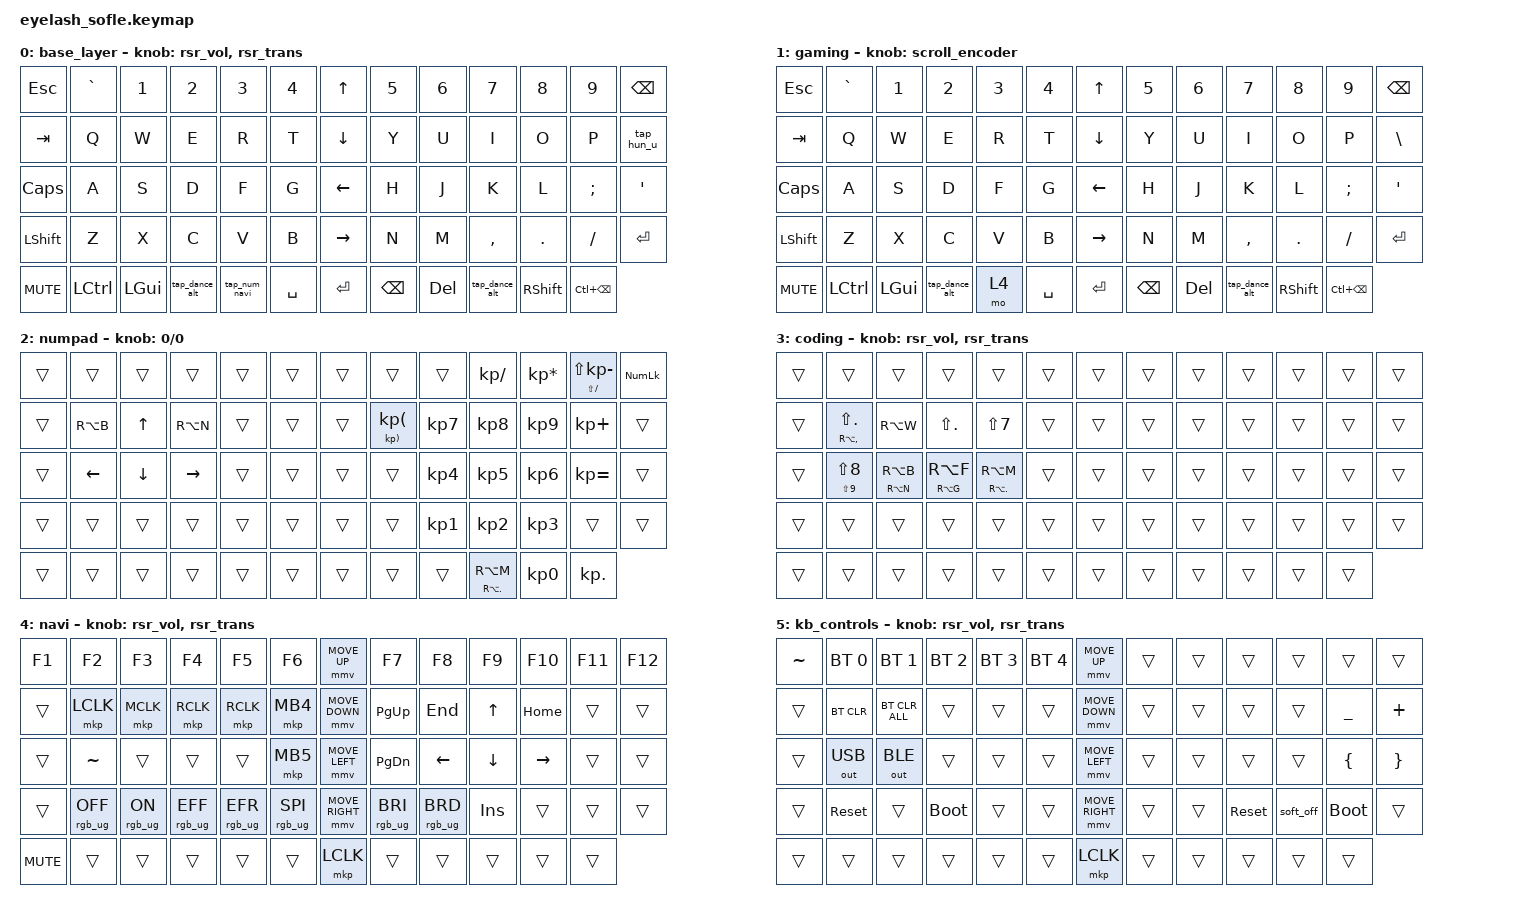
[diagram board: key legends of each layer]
#define ZMK_POINTING_DEFAULT_MOVE_VAL 1200  // 600
#define ZMK_POINTING_DEFAULT_SCRL_VAL 25   // 10

#include <input/processors.dtsi>
#include <zephyr/dt-bindings/input/input-event-codes.h>
#include <behaviors.dtsi>
#include <behaviors/runtime-sensor-rotate.dtsi>
#include <dt-bindings/zmk/bt.h>
#include <dt-bindings/zmk/keys.h>
#include <dt-bindings/zmk/outputs.h>
#include <dt-bindings/zmk/pointing.h>
#include <dt-bindings/zmk/rgb.h>

/ {
    zip_scroll_scaler: zip_scroll_scaler {
        compatible = "zmk,input-processor-scaler";
        #input-processor-cells = <2>;
        type = <INPUT_EV_REL>;
        codes = <INPUT_REL_WHEEL INPUT_REL_HWHEEL>;
        track-remainders;
    };
};

&mmv_input_listener { input-processors = <&zip_xy_scaler 2 1>; };

&msc_input_listener { input-processors = <&zip_scroll_scaler 2 1>; };

&msc {
    acceleration-exponent = <1>;      // 0
    time-to-max-speed-ms = <100>;       // 300
    delay-ms = <0>;                   // 0
};

&mmv {
    time-to-max-speed-ms = <500>;
    acceleration-exponent = <1>;
    trigger-period-ms = <16>;
};

&soft_off { hold-time-ms = <2000>; };

/ {
    scroll_encoder: scroll_encoder {
        compatible = "zmk,behavior-sensor-rotate";
        #sensor-binding-cells = <0>;
        bindings = <&msc SCRL_DOWN>, <&msc SCRL_UP>;

        tap-ms = <100>;
    };

    behaviors {
        rsr_vol: rsr_vol {
            compatible = "zmk,behavior-runtime-sensor-rotate";
            #sensor-binding-cells = <0>;
            tap-ms = <5>;
            cw-binding = <&kp C_VOL_UP>;
            ccw-binding = <&kp C_VOL_DN>;
        };

        rsr_trans: rsr_trans {
            compatible = "zmk,behavior-runtime-sensor-rotate";
            #sensor-binding-cells = <0>;
            tap-ms = <0>;
        };
    };

    macros {
        SHIFT_MCLK: SHIFT_MCLK {
            compatible = "zmk,behavior-macro";
            #binding-cells = <0>;
            bindings =
                <&macro_press>,
                <&kp LEFT_SHIFT>,
                <&macro_press>,
                <&mkp MB3>,
                <&macro_pause_for_release>,
                <&macro_release>,
                <&kp LEFT_SHIFT &mkp MB3>;

            label = "SHIFT_MCLK";
        };
    };

    tap_dance_e: tap_dance_e {
        compatible = "zmk,behavior-tap-dance";
        label = "TAP_DANCE_E";
        #binding-cells = <0>;
        bindings = <&kp E>, <&kp SEMI>;

        tapping-term-ms = <200>;
    };

    tap_dance_i: tap_dance_i {
        compatible = "zmk,behavior-tap-dance";
        label = "TAP_DANCE_I";
        #binding-cells = <0>;
        bindings = <&kp I>, <&kp NUBS>;

        tapping-term-ms = <200>;
    };

    tap_dance_u: tap_dance_u {
        compatible = "zmk,behavior-tap-dance";
        label = "TAP_DANCE_U";
        #binding-cells = <0>;
        bindings = <&kp U>, <&kp RIGHT_BRACKET>;

        tapping-term-ms = <200>;
    };

    tap_dance_o: tap_dance_o {
        compatible = "zmk,behavior-tap-dance";
        label = "TAP_DANCE_O";
        #binding-cells = <0>;
        bindings = <&kp O>, <&kp EQUAL>;

        tapping-term-ms = <200>;
    };

    tap_dance_alt: tap_dance_alt {
        compatible = "zmk,behavior-tap-dance";
        label = "TAP_DANCE_ALT";
        #binding-cells = <0>;
        bindings = <&kp LALT>, <&kp RALT>;

        tapping-term-ms = <200>;
    };

    holdtap_2: holdtap_2 {
        compatible = "zmk,behavior-hold-tap";
        label = "HOLDTAP_2";
        bindings = <&kp>, <&kp>;

        #binding-cells = <2>;
        flavor = "balanced";
        tapping-term-ms = <120>;
        require-prior-idle-ms = <100>;
        quick-tap-ms = <0>;
    };

    tap_dance_a: tap_dance_a {
        compatible = "zmk,behavior-tap-dance";
        label = "TAP_DANCE_A";
        #binding-cells = <0>;
        bindings = <&kp A>, <&kp APOS>;

        tapping-term-ms = <200>;
    };

    motog_layer: motog_layer {
        compatible = "zmk,behavior-hold-tap";
        label = "MOTOG_LAYER";
        bindings = <&mo>, <&tog>;

        #binding-cells = <2>;
        tapping-term-ms = <200>;
    };

    tap_num_navi: tap_num_navi {
        compatible = "zmk,behavior-tap-dance";
        label = "TAP_NUM_NAVI";
        #binding-cells = <0>;
        bindings = <&mo 2>, <&mo 4>;

        tapping-term-ms = <300>;
    };

    tap_hun_o: tap_hun_o {
        compatible = "zmk,behavior-tap-dance";
        label = "TAP_HUN_O";
        #binding-cells = <0>;
        bindings = <&kp N0>, <&kp LEFT_BRACKET>;

        tapping-term-ms = <200>;
    };

    tap_hun_u: tap_hun_u {
        compatible = "zmk,behavior-tap-dance";
        label = "TAP_HUN_U";
        #binding-cells = <0>;
        bindings = <&kp MINUS>, <&kp NUHS>;

        tapping-term-ms = <200>;
    };

    tap_dance_bt: tap_dance_bt {
        compatible = "zmk,behavior-tap-dance";
        label = "TAP_DANCE_BT";
        #binding-cells = <0>;
        bindings =
            <&bt BT_SEL 0>,
            <&bt BT_SEL 1>,
            <&bt BT_SEL 2>,
            <&bt BT_SEL 3>,
            <&bt BT_SEL 4>;
    };
    
    numpad_numlock: numpad_numlock {
        compatible = "zmk,behavior-macro";
        #binding-cells = <0>;
        bindings =
            <&macro_press>,
            <&mo 2>,
            <&macro_tap>,
            <&kp KP_NUMLOCK>,
            <&macro_pause_for_release>,
            <&macro_tap>,
            <&kp KP_NUMLOCK>,
            <&macro_release>,
            <&mo 2>;

        label = "NUMPAD_NUMLOCK";
    };

    combos {
        compatible = "zmk,combos";

        right_enter {
            bindings = <&kp ENTER>;
            key-positions = <38 51>;
            slow-release;
            layers = <0 3 1>;
        };

        toggle_controls {
            bindings = <&tog 5>;
            key-positions = <60 12 56 0>;
            layers = <0 5>;
            require-prior-idle-ms = <200>;
            timeout-ms = <100>;
            slow-release;
        };

        proglayer_tog {
            bindings = <&motog_layer 3 3>;
            key-positions = <56 39>;
            slow-release;
            layers = <0 3>;
        };

        toggle_gaming {
            bindings = <&tog 1>;
            key-positions = <56 14 15 16>;
            slow-release;
            layers = <1 0>;
            timeout-ms = <50>;
            require-prior-idle-ms = <200>;
        };

        homerow_lshift {
            bindings = <&sk LSHIFT>;
            key-positions = <27 28>;
            layers = <0>;
            timeout-ms = <30>;
            require-prior-idle-ms = <100>;
            slow-release;
        };

        homerow_lctrl {
            bindings = <&sk LCTRL>;
            key-positions = <28 29>;
            layers = <0>;
            timeout-ms = <30>;
            require-prior-idle-ms = <100>;
            slow-release;
        };

        hoemrow_lctrl_lshift {
            bindings = <&sk LS(LCTRL)>;
            key-positions = <27 28 29>;
            layers = <0>;
            timeout-ms = <30>;
            require-prior-idle-ms = <100>;
            slow-release;
        };

        homerow_rctrl {
            bindings = <&sk RCTRL>;
            key-positions = <36 35>;
            layers = <0>;
            timeout-ms = <30>;
            require-prior-idle-ms = <100>;
            slow-release;
        };

        homerow_rshift {
            bindings = <&sk RSHIFT>;
            key-positions = <36 37>;
            layers = <0>;
            timeout-ms = <30>;
            require-prior-idle-ms = <100>;
            slow-release;
        };

        homerow_rctrl_rshift {
            bindings = <&sk RS(RCTRL)>;
            key-positions = <35 36 37>;
            layers = <0>;
            timeout-ms = <30>;
            require-prior-idle-ms = <100>;
            slow-release;
        };

        prog_eq {
            bindings = <&kp LS(N7)>;
            key-positions = <14 16>;
            layers = <0 3>;
            require-prior-idle-ms = <100>;
            timeout-ms = <30>;
            slow-release;
        };

        long_a {
            bindings = <&kp APOS>;
            key-positions = <14 27>;
            timeout-ms = <50>;
            require-prior-idle-ms = <50>;
            layers = <0>;
        };

        long_i {
            bindings = <&kp NUBS>;
            key-positions = <22 9>;
            layers = <0>;
            timeout-ms = <50>;
            require-prior-idle-ms = <50>;
        };

        long_o {
            bindings = <&kp EQUAL>;
            key-positions = <23 10>;
            timeout-ms = <50>;
            require-prior-idle-ms = <50>;
            layers = <0>;
        };

        long_u {
            bindings = <&kp RIGHT_BRACKET>;
            key-positions = <8 21>;
            timeout-ms = <50>;
            require-prior-idle-ms = <50>;
            layers = <0>;
        };

        long_e {
            bindings = <&kp SEMI>;
            key-positions = <16 3>;
            timeout-ms = <50>;
            require-prior-idle-ms = <50>;
            layers = <0>;
        };

        uml_u {
            bindings = <&kp MINUS>;
            key-positions = <21 20>;
            timeout-ms = <50>;
            require-prior-idle-ms = <50>;
            layers = <0>;
        };

        uml_o {
            bindings = <&kp N0>;
            key-positions = <23 24>;
            timeout-ms = <50>;
            require-prior-idle-ms = <50>;
            layers = <0>;
        };

        long_uml_o {
            bindings = <&kp LEFT_BRACKET>;
            key-positions = <36 23>;
            timeout-ms = <50>;
            require-prior-idle-ms = <50>;
            layers = <0>;
        };

        long_uml_u {
            bindings = <&kp NUHS>;
            key-positions = <21 34>;
            timeout-ms = <50>;
            require-prior-idle-ms = <50>;
            layers = <0>;
        };
        
        softoff {
            bindings = <&soft_off>;
            key-positions = <14 28 40>;
        };
    };



    keymap {
        compatible = "zmk,keymap";

        base {
            bindings = <
&kp ESC     &kp GRAVE  &kp N1        &kp N2          &kp N3         &kp N4       &kp UP_ARROW     &kp N5         &kp NUMBER_6  &kp N7          &kp N8           &kp N9             &kp BACKSPACE
&kp TAB     &kp Q      &kp W         &kp E           &kp R          &kp T        &kp DOWN_ARROW   &kp Y          &kp U         &kp I           &kp O            &kp P              &tap_hun_u
&kp CAPS    &kp A      &kp S         &kp D           &kp F          &kp G        &kp LEFT_ARROW   &kp H          &kp J         &kp K           &kp L            &kp SEMI           &kp APOS
&kp LSHFT   &kp Z      &kp X         &kp C           &kp V          &kp B        &kp RIGHT_ARROW  &kp N          &kp M         &kp COMMA       &kp DOT          &kp FSLH           &kp ENTER
&kp C_MUTE  &kp LCTRL  &kp LEFT_GUI  &tap_dance_alt  &tap_num_navi  &kp SPACE    &kp ENTER        &kp BACKSPACE  &kp DELETE    &tap_dance_alt  &kp RIGHT_SHIFT  &kp LC(BACKSPACE)
            >;

            sensor-bindings = <&rsr_vol &rsr_trans>;
            display-name = "base_layer";
            label = "base_layer";
        };

        gaming {
            display-name = "gaming";
            bindings = <
&kp ESC     &kp GRAVE  &kp N1        &kp N2          &kp N3  &kp N4       &kp UP_ARROW     &kp N5    &kp NUMBER_6  &kp N7          &kp N8           &kp N9             &kp BACKSPACE
&kp TAB     &kp Q      &kp W         &kp E           &kp R   &kp T        &kp DOWN_ARROW   &kp Y     &kp U         &kp I           &kp O            &kp P              &kp BSLH
&kp CAPS    &kp A      &kp S         &kp D           &kp F   &kp G        &kp LEFT_ARROW   &kp H     &kp J         &kp K           &kp L            &kp SEMI           &kp APOS
&kp LSHFT   &kp Z      &kp X         &kp C           &kp V   &kp B        &kp RIGHT_ARROW  &kp N     &kp M         &kp COMMA       &kp DOT          &kp FSLH           &kp ENTER
&kp C_MUTE  &kp LCTRL  &kp LEFT_GUI  &tap_dance_alt  &mo 4   &kp SPACE    &kp ENTER        &kp BSPC  &kp DEL       &tap_dance_alt  &kp RIGHT_SHIFT  &kp LC(BACKSPACE)
            >;

            sensor-bindings = <&scroll_encoder>;
        };

        numpad {
            bindings = <
&trans  &trans     &trans    &trans     &trans  &trans    &trans  &trans                                               &trans     &kp KP_DIVIDE                &kp KP_MULTIPLY  &holdtap_2 LS(SLASH) LS(KP_MINUS)  &kp KP_NUMLOCK
&trans  &kp RA(B)  &kp UP    &kp RA(N)  &trans  &trans    &trans  &holdtap_2 KP_RIGHT_PARENTHESIS KP_LEFT_PARENTHESIS  &kp KP_N7  &kp KP_N8                    &kp KP_N9        &kp KP_PLUS                        &trans
&trans  &kp LEFT   &kp DOWN  &kp RIGHT  &trans  &trans    &trans  &trans                                               &kp KP_N4  &kp KP_N5                    &kp KP_N6        &kp KP_EQUAL                       &trans
&trans  &trans     &trans    &trans     &trans  &trans    &trans  &trans                                               &kp KP_N1  &kp KP_N2                    &kp KP_N3        &trans                             &trans
&trans  &trans     &trans    &trans     &trans  &trans    &trans  &trans                                               &trans     &holdtap_2 RA(PERIOD) RA(M)  &kp KP_N0        &kp KP_DOT
            >;

            sensor-bindings = <&inc_dec_kp 0 0>;
            label = "numpad";
        };

        coding {
            bindings = <
&trans  &trans                           &trans                  &trans                  &trans                       &trans    &trans  &trans  &trans  &trans  &trans  &trans  &trans
&trans  &holdtap_2 RA(COMMA) LS(PERIOD)  &kp RA(W)               &kp LS(PERIOD)          &kp LS(N7)                   &trans    &trans  &trans  &trans  &trans  &trans  &trans  &trans
&trans  &holdtap_2 LS(N9) LS(N8)         &holdtap_2 RA(N) RA(B)  &holdtap_2 RA(G) RA(F)  &holdtap_2 RA(PERIOD) RA(M)  &trans    &trans  &trans  &trans  &trans  &trans  &trans  &trans
&trans  &trans                           &trans                  &trans                  &trans                       &trans    &trans  &trans  &trans  &trans  &trans  &trans  &trans
&trans  &trans                           &trans                  &trans                  &trans                       &trans    &trans  &trans  &trans  &trans  &trans  &trans
            >;

            sensor-bindings = <&rsr_vol &rsr_trans>;
            label = "coding";
        };

        navi {
            bindings = <
&kp F1      &kp F2           &kp F3          &kp F4           &kp F5           &kp F6             &mmv MOVE_UP     &kp F7           &kp F8           &kp F9      &kp F10    &kp F11  &kp F12
&trans      &mkp LCLK        &mkp MCLK       &mkp RCLK        &mkp RCLK        &mkp MB4           &mmv MOVE_DOWN   &kp PG_UP        &kp END          &kp UP      &kp HOME   &trans   &trans
&trans      &kp TILDE        &trans          &trans           &trans           &mkp MB5           &mmv MOVE_LEFT   &kp PG_DN        &kp LEFT         &kp DOWN    &kp RIGHT  &trans   &trans
&trans      &rgb_ug RGB_OFF  &rgb_ug RGB_ON  &rgb_ug RGB_EFF  &rgb_ug RGB_EFR  &rgb_ug RGB_SPI    &mmv MOVE_RIGHT  &rgb_ug RGB_BRI  &rgb_ug RGB_BRD  &kp INSERT  &trans     &trans   &trans
&kp C_MUTE  &trans           &trans          &trans           &trans           &trans             &mkp LCLK        &trans           &trans           &trans      &trans     &trans
            >;

            sensor-bindings = <&rsr_vol &rsr_trans>;
            display-name = "navi";
        };

        kb_controls {
            bindings = <
&kp TILDE  &bt BT_SEL 0  &bt BT_SEL 1    &bt BT_SEL 2  &bt BT_SEL 3  &bt BT_SEL 4    &mmv MOVE_UP     &trans  &trans  &trans      &trans     &trans       &trans
&trans     &bt BT_CLR    &bt BT_CLR_ALL  &trans        &trans        &trans          &mmv MOVE_DOWN   &trans  &trans  &trans      &trans     &kp UNDER    &kp PLUS
&trans     &out OUT_USB  &out OUT_BLE    &trans        &trans        &trans          &mmv MOVE_LEFT   &trans  &trans  &trans      &trans     &kp LBRC     &kp RBRC
&trans     &sys_reset    &trans          &bootloader   &trans        &trans          &mmv MOVE_RIGHT  &trans  &trans  &sys_reset  &soft_off  &bootloader  &trans
&trans     &trans        &trans          &trans        &trans        &trans          &mkp LCLK        &trans  &trans  &trans      &trans     &trans
            >;

            sensor-bindings = <&rsr_vol &rsr_trans>;
            label = "kb_controls";
        };
    };
};
